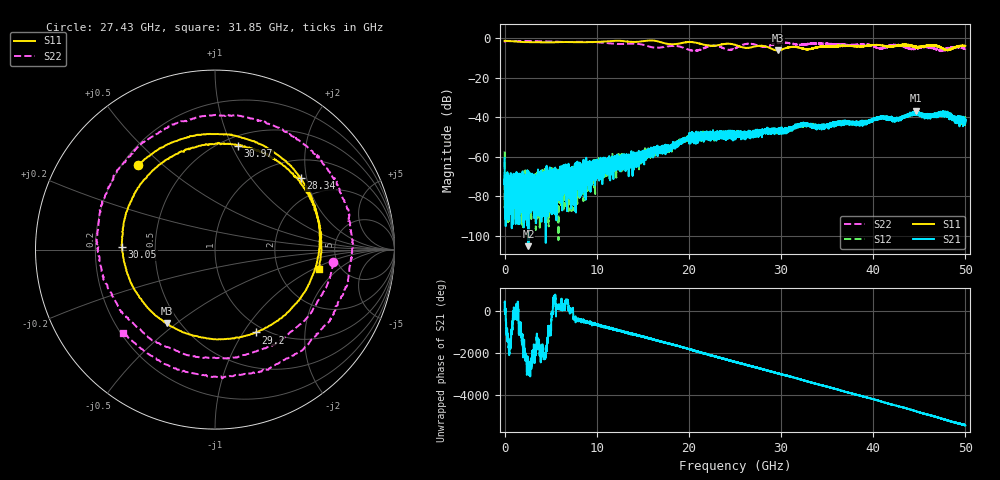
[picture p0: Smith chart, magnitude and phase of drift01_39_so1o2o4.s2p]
!Created with skrf (http://scikit-rf.org).
# Hz S RI R 50.0
!freq ReS11 ImS11 ReS21 ImS21 ReS12 ImS12 ReS22 ImS22
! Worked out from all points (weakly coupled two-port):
!   10001 points, 300 kHz to 50 GHz, reference 50 ohm
!   highest |S21| = -36.71 dB at 44.61 GHz (marker M1); lowest = -105.3 dB at 2.585 GHz (marker M2)
!   lowest |S11| = -6.2 dB at 29.62 GHz (marker M3), VSWR 2.92, Z = 21.4 - j23.1 ohm
!   |S11| at or under -10 dB: nowhere
!   |S22| runs from -6.6 to -1.4 dB; largest |S21 - S12| = 0.0035
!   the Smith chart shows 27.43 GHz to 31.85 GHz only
!   S11 on the Smith chart (normalised r, x): 27.43 GHz: 0.26, +0.42; 28.34 GHz: 1.42, +1.84; 29.2 GHz: 0.91, -1.14; 30.05 GHz: 0.32, +0.01; 30.97 GHz: 0.59, +1.06; 31.85 GHz: 3.43, -1.13
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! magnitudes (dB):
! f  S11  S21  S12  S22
! 300 kHz  -1.3  -60.8  -57.4  -2.1
! 255.3 MHz  -1.4  -78.3  -75.8  -1.4
! 2.585 GHz  -2.0  -105.3  -74.5  -1.4
! 5.32 GHz  -2.0  -67.4  -86.0  -1.7
! 8.335 GHz  -2.0  -66.7  -72.2  -1.8
! 10.2 GHz  -1.8  -66.5  -63.8  -2.1
! 16.67 GHz  -1.6  -56.2  -56.1  -4.8
! 20.12 GHz  -1.9  -51.0  -49.2  -6.0
! 22.62 GHz  -3.8  -49.5  -50.5  -3.8
! 25 GHz  -3.3  -48.8  -49.8  -5.1
! 27.43 GHz  -3.9  -47.9  -47.1  -3.6
! 28.34 GHz  -4.1  -46.7  -47.0  -4.2
! 29.2 GHz  -5.8  -46.5  -47.5  -3.0
! 29.62 GHz  -6.2  -46.6  -46.5  -2.5
! 30.05 GHz  -5.7  -46.7  -46.7  -2.3
! 30.97 GHz  -4.5  -46.3  -46.1  -2.5
! 31.85 GHz  -4.6  -44.2  -43.7  -3.2
! 33.34 GHz  -5.3  -44.3  -43.7  -2.6
! 41.67 GHz  -4.3  -41.3  -40.6  -4.2
! 44.61 GHz  -4.3  -36.7  -38.1  -4.9
! 47.68 GHz  -5.4  -38.7  -38.9  -6.2
! 50 GHz  -3.9  -42.9  -42.4  -5.3
